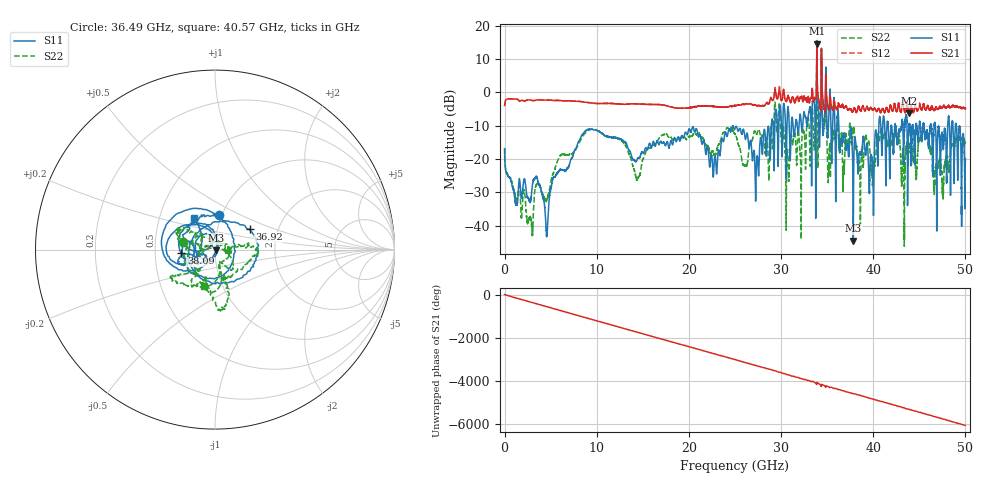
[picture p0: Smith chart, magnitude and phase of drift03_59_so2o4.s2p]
!Created with skrf (http://scikit-rf.org).
# Hz S RI R 50.0
!freq ReS11 ImS11 ReS21 ImS21 ReS12 ImS12 ReS22 ImS22
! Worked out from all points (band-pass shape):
!   10001 points, 300 kHz to 50 GHz, reference 50 ohm
!   highest |S21| = 14.53 dB at 33.88 GHz (marker M1); lowest = -6.3 dB at 43.9 GHz (marker M2)
!   |S21| within 3 dB of the highest: 33.86928 GHz to 33.88825 GHz (18.97 MHz wide, 0.056 % of centre); 34.37686 GHz to 34.38866 GHz (11.81 MHz wide, 0.0343 % of centre)
!   lowest |S11| = -44.6 dB at 37.84 GHz (marker M3), VSWR 1.01, Z = 50.5 - j0.287 ohm
!   |S11| at or under -10 dB: start of sweep to 28.94 GHz; 36.27 GHz to 40.6 GHz (4.338 GHz wide, 11.3 % of centre); 46.74 GHz to 48.08 GHz (1.337 GHz wide, 2.82 % of centre) (the widest 3 of 56)
!   |S22| runs from -46.2 to 11.1 dB; largest |S21 - S12| = 0.83
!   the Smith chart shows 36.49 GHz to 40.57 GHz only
!   S11 on the Smith chart (normalised r, x): 36.49 GHz: 0.97, +0.38; 36.92 GHz: 1.43, +0.35; 38.09 GHz: 0.68, -0.03; 40.57 GHz: 0.74, +0.28
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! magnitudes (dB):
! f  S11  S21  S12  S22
! 300 kHz  -16.9  -4.0  -4.0  -16.8
! 2.82 GHz  -32.7  -2.4  -2.4  -38.2
! 4.555 GHz  -43.4  -2.3  -2.3  -32.4
! 8.335 GHz  -13.1  -2.8  -2.8  -13.9
! 14.44 GHz  -19.9  -3.5  -3.5  -26.1
! 16.67 GHz  -15.4  -3.7  -3.7  -14.3
! 22.82 GHz  -19.3  -4.3  -4.3  -19.2
! 25 GHz  -11.0  -4.0  -4.0  -12.5
! 27.39 GHz  -19.4  -4.1  -4.1  -12.4
! 29.6 GHz  -10.5  -2.0  -2.1  -11.7
! 30.7 GHz  -5.6  -1.4  -1.4  -17.2
! 33.34 GHz  -13.7  -0.4  -0.4  -7.0
! 33.88 GHz  15.5  14.5  14.2  11.1
! 36.49 GHz  -14.3  -4.4  -4.4  -14.7
! 36.92 GHz  -13.0  -4.4  -4.5  -18.9
! 37.84 GHz  -44.6  -5.5  -5.5  -10.9
! 38.09 GHz  -14.5  -5.6  -5.6  -16.8
! 39.81 GHz  -19.2  -4.9  -4.8  -23.8
! 40.57 GHz  -13.4  -4.9  -4.9  -13.4
! 41.67 GHz  -12.1  -6.0  -5.9  -14.9
! 43.9 GHz  -9.4  -6.3  -6.3  -16.8
! 50 GHz  -19.9  -4.9  -4.9  -15.0
